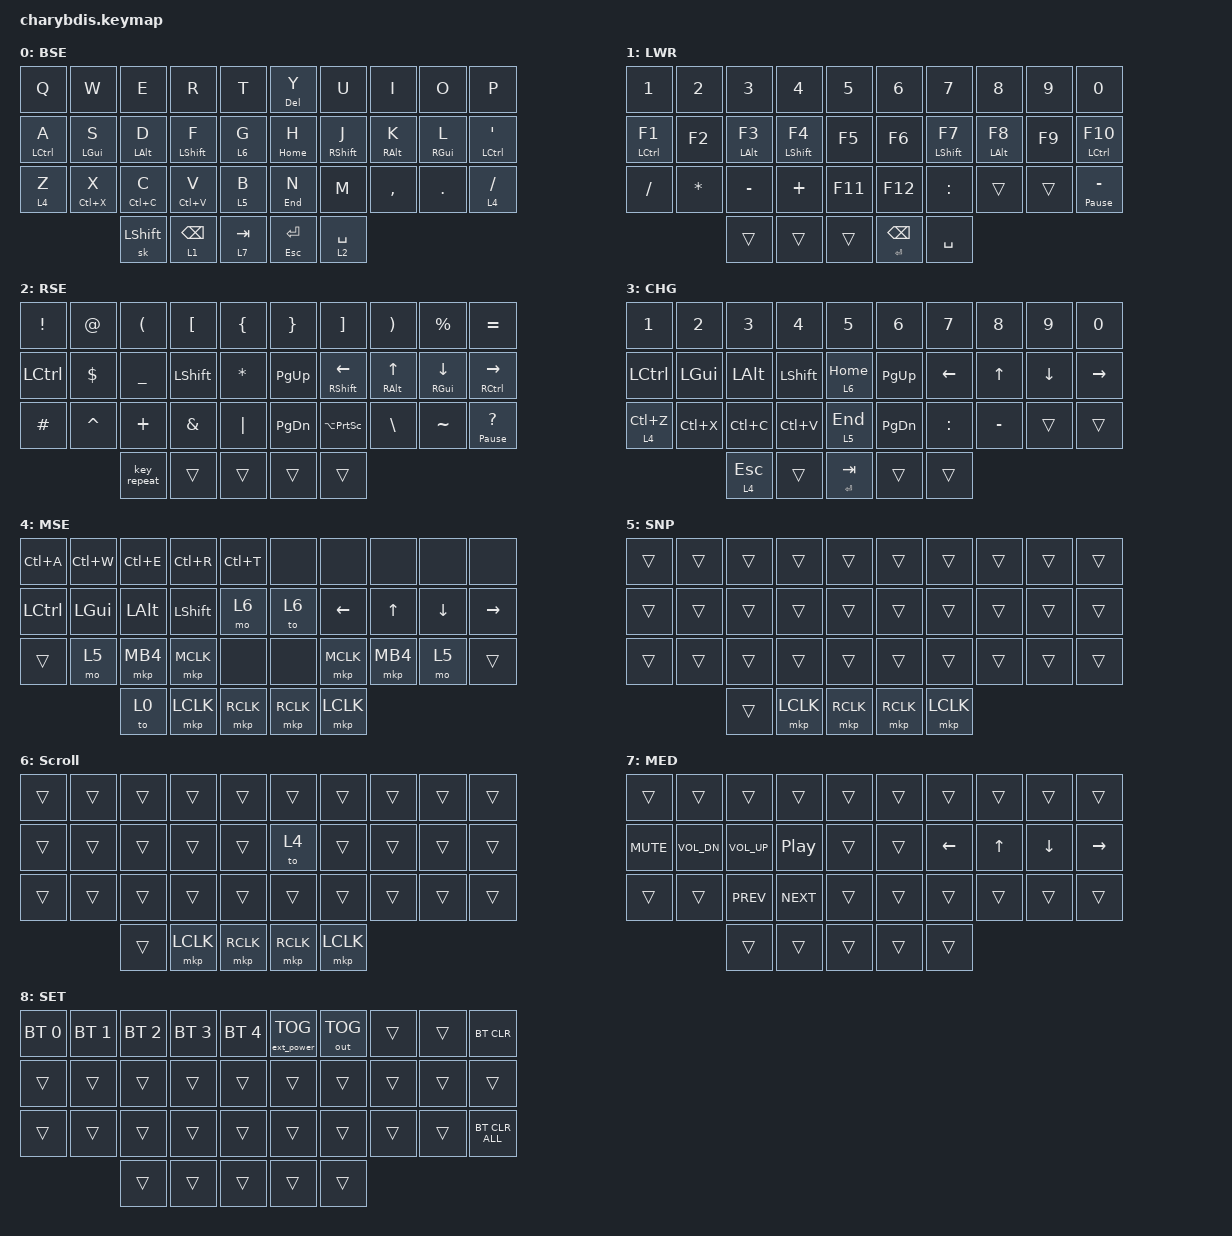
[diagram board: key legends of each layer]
#include <behaviors/mouse_keys.dtsi>
#include <dt-bindings/zmk/mouse.h>
#include <behaviors.dtsi>
#include <dt-bindings/zmk/bt.h>
#include <dt-bindings/zmk/ext_power.h>
#include <dt-bindings/zmk/keys.h>
#include <dt-bindings/zmk/outputs.h>
#include <dt-bindings/zmk/pointing.h>

&lt {
    tapping-term-ms = <120>;
    flavor = "balanced";
    quick-tap-ms = <90>;
    require-prior-idle-ms = <50>;
    hold-trigger-on-release;
    hold-trigger-key-positions = <31 34 29>;
};

&mt {
    quick-tap-ms = <100>;
    require-prior-idle-ms = <50>;
    flavor = "balanced";
    hold-trigger-key-positions = <11 12 13 16 17 18 19 10 11>;
    hold-trigger-on-release;
    tapping-term-ms = <150>;
};

/ {
    // #define BASE    0
    // #define LOWER   1
    // #define RAISE   2
    // #define MEDIA   3
    // #define CHANGE  4

    combos {
        compatible = "zmk,combos";

        LH.Lclick {
            bindings = <&mkp LCLK>;
            key-positions = <23 22>;
            layers = <0 3>;
        };

        LH.Rclick {
            bindings = <&mkp RCLK>;
            key-positions = <22 21>;
            layers = <0 3>;
        };

        LH.Mclick {
            bindings = <&mkp MB3>;
            key-positions = <21 22 23>;
            layers = <0 3>;
        };

        CHG {
            bindings = <&to 3>;
            key-positions = <32 33>;
            layers = <0>;
        };

        Base {
            bindings = <&to 0>;
            key-positions = <32 33>;
            layers = <3>;
        };

        Select_All {
            bindings = <&kp LC(A)>;
            key-positions = <0 1>;
            layers = <0 3>;
        };

        CapsL {
            bindings = <&kp CLCK>;
            key-positions = <23 31>;
            layers = <0>;
        };

        Alt_F4 {
            bindings = <&kp LA(F4)>;
            key-positions = <13 12>;
            layers = <1>;
        };

        RH.Lclick {
            bindings = <&mkp LCLK>;
            key-positions = <26 27>;
            layers = <0 3>;
        };

        RH.Rclick {
            bindings = <&mkp RCLK>;
            key-positions = <27 28>;
            layers = <0 3>;
        };

        RH.Mclick {
            bindings = <&mkp MCLK>;
            key-positions = <26 27 28>;
            layers = <0 3>;
        };

        MOU.Ret {
            bindings = <&kp RET>;
            key-positions = <22 22 23>;
            layers = <4>;
        };

        MOU.Ret.RH {
            bindings = <&kp RET>;
            key-positions = <26 27>;
            layers = <4 1>;
        };

        colon {
            bindings = <&kp SEMI>;
            key-positions = <18 19>;
            layers = <0>;
        };

        Escape {
            bindings = <&kp ESCAPE>;
            key-positions = <0 1>;
            layers = <1>;
        };

        Undo {
            bindings = <&kp LC(Z)>;
            key-positions = <20 21>;
            layers = <0>;
        };
    };

    behaviors {
        sf_shift: sf_shift {
            compatible = "zmk,behavior-sticky-key";
            label = "SF_SHIFT";
            bindings = <&sk>;
            #binding-cells = <1>;
            release-after-ms = <700>;
            quick-release;
        };

        layer_switch: layer_switch {
            compatible = "zmk,behavior-hold-tap";
            label = "LAYER_SWITCH";
            bindings = <&mo>, <&to>;

            #binding-cells = <2>;
            tapping-term-ms = <100>;
            hold-trigger-key-positions = <30>;
            flavor = "hold-preferred";
            hold-trigger-on-release;
        };
    };

    behaviors {
    };

    behaviors {
    };

    behaviors {
    };

    keymap {
        compatible = "zmk,keymap";

        BASE {
            bindings = <
&kp Q               &kp W           &kp E           &kp R             &kp T        &mt DEL Y       &kp U              &kp I            &kp O            &kp P
&mt LEFT_CONTROL A  &mt LEFT_GUI S  &mt LEFT_ALT D  &mt LEFT_SHIFT F  &lt 6 G      &mt HOME H      &mt RIGHT_SHIFT J  &mt RIGHT_ALT K  &mt RIGHT_GUI L  &mt LEFT_CONTROL APOS
&lt 4 Z             &mt LC(X) X     &mt LC(C) C     &mt LC(V) V       &lt 5 B      &mt END N       &kp M              &kp COMMA        &kp DOT          &lt 4 SLASH
                                    &sk LEFT_SHIFT  &lt 1 BACKSPACE   &lt 7 TAB    &mt ESCAPE RET  &lt 2 SPACE
            >;

            label = "BSE";
        };

        LOWER {
            bindings = <
&kp NUMBER_1  &kp NUMBER_2  &kp NUMBER_3     &kp NUMBER_4       &kp N5     &kp NUMBER_6       &kp N7             &kp N8           &kp N9  &kp N0
&mt LCTRL F1  &kp F2        &mt LEFT_ALT F3  &mt LEFT_SHIFT F4  &kp F5     &kp F6             &mt LEFT_SHIFT F7  &mt LEFT_ALT F8  &kp F9  &mt LCTRL F10
&kp SLASH     &kp STAR      &kp MINUS        &kp PLUS           &kp F11    &kp F12            &kp COLON          &trans           &trans  &mt PAUSE_BREAK MINUS
                            &trans           &trans             &trans     &mt RET BACKSPACE  &kp SPACE
            >;

            label = "LWR";
        };

        RAISE {
            bindings = <
&kp EXCL   &kp AT      &kp LEFT_PARENTHESIS  &kp LEFT_BRACKET  &kp LEFT_BRACE    &kp RIGHT_BRACE  &kp RIGHT_BRACKET    &kp RIGHT_PARENTHESIS   &kp PERCENT               &kp EQUAL
&kp LCTRL  &kp DOLLAR  &kp UNDER             &kp LSHFT         &kp ASTRK         &kp PAGE_UP      &mt RSHFT LEFT       &mt RIGHT_ALT UP_ARROW  &mt RIGHT_GUI DOWN_ARROW  &mt RCTRL RIGHT
&kp POUND  &kp CARET   &kp PLUS              &kp AMPS          &kp PIPE          &kp PAGE_DOWN    &kp LA(PRINTSCREEN)  &kp BACKSLASH           &kp TILDE                 &mt PAUSE_BREAK QUESTION
                       &key_repeat           &trans            &trans            &trans           &trans
            >;

            label = "RSE";
        };

        CHANGE {
            bindings = <
&kp NUMBER_1  &kp NUMBER_2  &kp NUMBER_3  &kp NUMBER_4  &kp N5         &kp NUMBER_6  &kp N7     &kp N8        &kp N9    &kp N0
&kp LCTRL     &kp LEFT_GUI  &kp LEFT_ALT  &kp LSHFT     &lt 6 HOME     &kp PG_UP     &kp LEFT   &kp UP_ARROW  &kp DOWN  &kp RIGHT
&lt 4 LC(Z)   &kp LC(X)     &kp LC(C)     &kp LC(V)     &lt 5 END      &kp PG_DN     &kp COLON  &kp MINUS     &trans    &trans
                            &lt 4 ESCAPE  &trans        &mt RET TAB    &trans        &trans
            >;

            label = "CHG";
        };

        MOUSE {
            bindings = <
&kp LC(A)         &kp LC(W)     &kp LC(E)     &kp LC(R)       &kp LC(T)    &none      &none      &none         &none     &none
&kp LEFT_CONTROL  &kp LEFT_GUI  &kp LEFT_ALT  &kp LEFT_SHIFT  &mo 6        &to 6      &kp LEFT   &kp UP_ARROW  &kp DOWN  &kp RIGHT
&trans            &mo 5         &mkp MB4      &mkp MCLK       &none        &none      &mkp MCLK  &mkp MB4      &mo 5     &trans
                                &to 0         &mkp LCLK       &mkp RCLK    &mkp RCLK  &mkp LCLK
            >;

            label = "MSE";
        };

        SNP {
            bindings = <
&trans  &trans  &trans  &trans     &trans       &trans     &trans     &trans  &trans  &trans
&trans  &trans  &trans  &trans     &trans       &trans     &trans     &trans  &trans  &trans
&trans  &trans  &trans  &trans     &trans       &trans     &trans     &trans  &trans  &trans
                &trans  &mkp LCLK  &mkp RCLK    &mkp RCLK  &mkp LCLK
            >;
        };

        Scroll {
            bindings = <
&trans  &trans  &trans  &trans     &trans       &trans     &trans     &trans  &trans  &trans
&trans  &trans  &trans  &trans     &trans       &to 4      &trans     &trans  &trans  &trans
&trans  &trans  &trans  &trans     &trans       &trans     &trans     &trans  &trans  &trans
                &trans  &mkp LCLK  &mkp RCLK    &mkp RCLK  &mkp LCLK
            >;
        };

        MEDIA {
            bindings = <
&trans      &trans        &trans        &trans            &trans    &trans  &trans    &trans        &trans    &trans
&kp C_MUTE  &kp C_VOL_DN  &kp C_VOL_UP  &kp C_PLAY_PAUSE  &trans    &trans  &kp LEFT  &kp UP_ARROW  &kp DOWN  &kp RIGHT
&trans      &trans        &kp C_PREV    &kp C_NEXT        &trans    &trans  &trans    &trans        &trans    &trans
                          &trans        &trans            &trans    &trans  &trans
            >;

            label = "MED";
        };

        SETTINGS {
            bindings = <
&bt BT_SEL 0  &bt BT_SEL 1  &bt BT_SEL 2  &bt BT_SEL 3  &bt BT_SEL 4    &ext_power EP_TOG  &out OUT_TOG  &trans  &trans  &bt BT_CLR
&trans        &trans        &trans        &trans        &trans          &trans             &trans        &trans  &trans  &trans
&trans        &trans        &trans        &trans        &trans          &trans             &trans        &trans  &trans  &bt BT_CLR_ALL
                            &trans        &trans        &trans          &trans             &trans
            >;

            label = "SET";
        };
    };

    conditional_layers {
        compatible = "zmk,conditional-layers";

        Settings {
            if-layers = <1 2>;
            then-layer = <8>;
        };
    };
};
